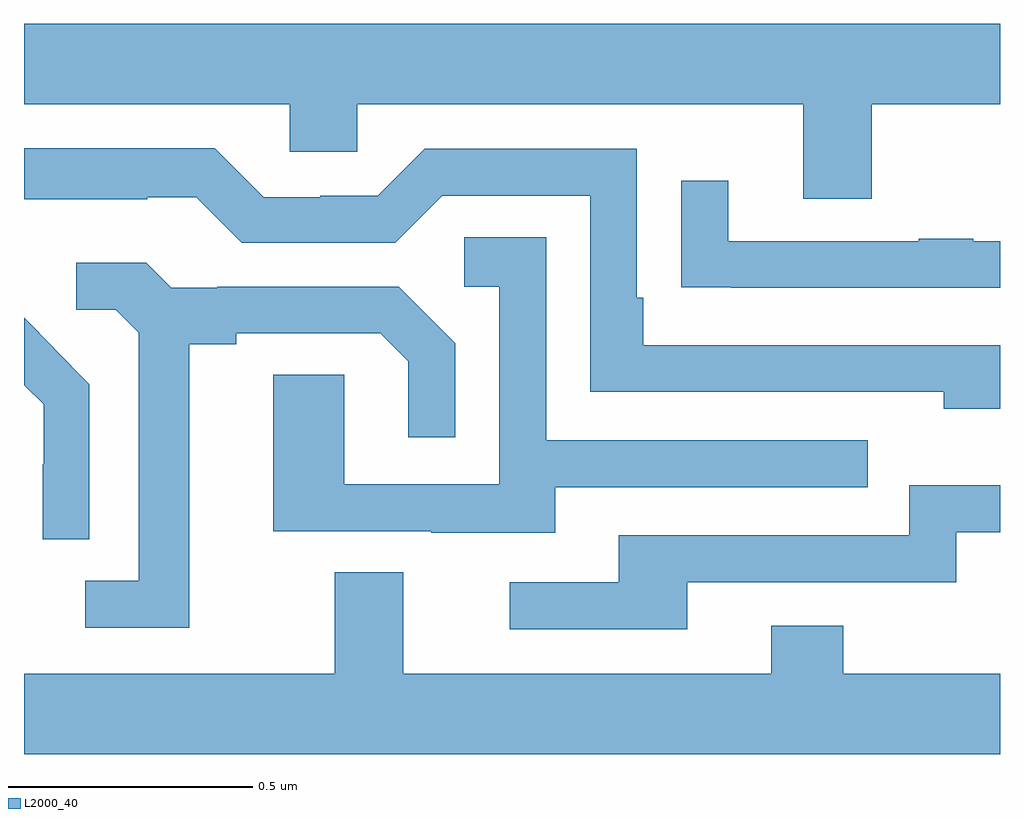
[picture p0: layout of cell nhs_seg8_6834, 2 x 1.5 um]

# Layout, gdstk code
import gdstk
lib = gdstk.Library(unit=1e-6, precision=1e-09)
def P(c, l, *ps):  # polygons
    for p in ps: c.add(gdstk.Polygon(p, *l))
L2000_40 = (2000, 40)

nhs_seg8_6834 = lib.new_cell('nhs_seg8_6834')
P(nhs_seg8_6834, L2000_40, [(203.737,1108.508),(204,1108.508),(204,1108.672),(202,1108.672),(202,1108.508),(202.545,1108.508),(202.545,1108.41),(202.683,1108.41),(202.683,1108.508),(203.597,1108.508),(203.597,1108.314),(203.737,1108.314)],
  [(204,1108.014),(203.269,1108.014),(203.269,1108.111),(203.256,1108.111),(203.256,1108.416),(202.821,1108.416),(202.725,1108.32),(202.607,1108.32),(202.607,1108.317),(202.491,1108.317),(202.391,1108.417),(202,1108.417),(202,1108.313),(202.253,1108.313),(202.253,1108.317),(202.353,1108.317),(202.446,1108.224),(202.761,1108.224),(202.857,1108.32),(203.16,1108.32),(203.16,1107.918),(203.885,1107.918),(203.885,1107.884),(204,1107.884)],
  [(204,1108.227),(203.945,1108.227),(203.945,1108.232),(203.833,1108.232),(203.833,1108.227),(203.443,1108.227),(203.443,1108.351),(203.347,1108.351),(203.347,1108.132),(203.449,1108.132),(203.449,1108.131),(204,1108.131)],
  [(203.089,1107.723),(203.729,1107.723),(203.729,1107.819),(203.07,1107.819),(203.07,1108.235),(202.902,1108.235),(202.902,1108.134),(202.974,1108.134),(202.974,1107.729),(202.656,1107.729),(202.656,1107.953),(202.511,1107.953),(202.511,1107.633),(202.835,1107.633),(202.835,1107.629),(203.089,1107.629)],
  [(202.339,1108.016),(202.435,1108.016),(202.435,1108.038),(202.73,1108.038),(202.787,1107.981),(202.787,1107.825),(202.884,1107.825),(202.884,1108.018),(202.768,1108.134),(202.396,1108.134),(202.396,1108.131),(202.302,1108.131),(202.25,1108.183),(202.107,1108.183),(202.107,1108.086),(202.188,1108.086),(202.235,1108.039),(202.235,1107.531),(202.125,1107.531),(202.125,1107.435),(202.339,1107.435)],
  [(202.134,1107.934),(202.061,1108.007),(202.062,1108.008),(202,1108.07),(202,1107.932),(202.04,1107.893),(202.04,1107.77),(202.038,1107.77),(202.038,1107.616),(202.134,1107.616)],
  [(203.359,1107.528),(203.91,1107.528),(203.91,1107.63),(204,1107.63),(204,1107.727),(203.814,1107.727),(203.814,1107.624),(203.219,1107.624),(203.219,1107.528),(202.995,1107.528),(202.995,1107.432),(203.359,1107.432)],
  [(204,1107.34),(203.679,1107.34),(203.679,1107.439),(203.531,1107.439),(203.531,1107.34),(202.777,1107.34),(202.777,1107.548),(202.637,1107.548),(202.637,1107.34),(202,1107.34),(202,1107.176),(204,1107.176)])

lib.write_gds('nhs_seg8_6834.gds')
